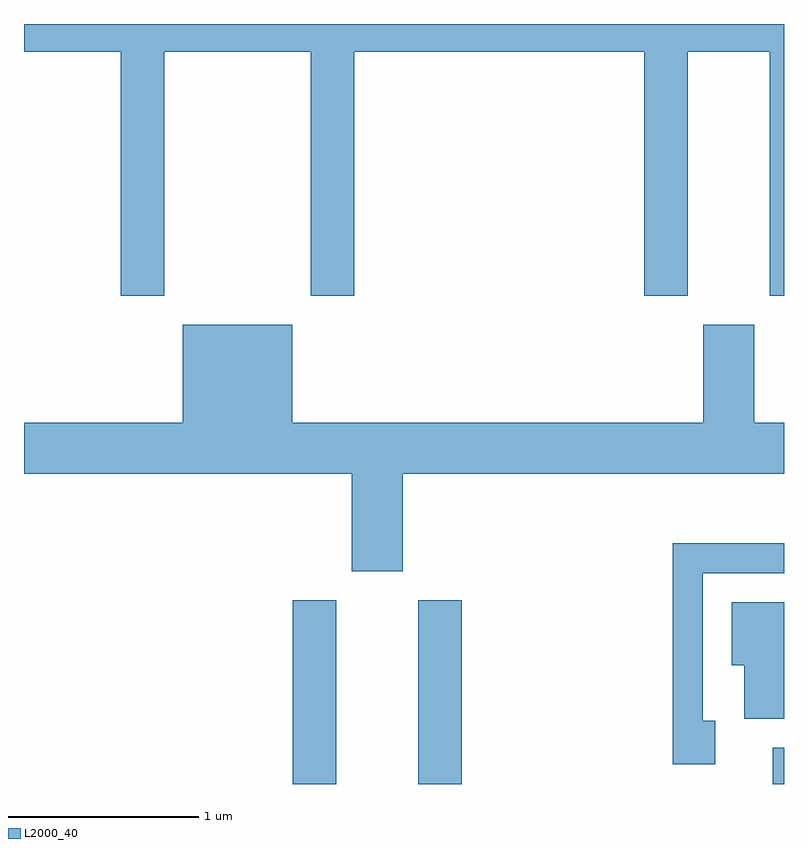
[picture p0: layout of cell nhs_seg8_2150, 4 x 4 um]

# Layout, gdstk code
import gdstk
lib = gdstk.Library(unit=1e-6, precision=1e-09)
def R(c, l, rs):  # rectangles x0, y0, x1, y1
    for r in rs: c.add(gdstk.rectangle(r[:2], r[2:], *l))
def P(c, l, *ps):  # polygons
    for p in ps: c.add(gdstk.Polygon(p, *l))
L2000_40 = (2000, 40)

nhs_seg8_2150 = lib.new_cell('nhs_seg8_2150')
R(nhs_seg8_2150, L2000_40, [(251.026,1830.342,251.254,1831.309), (251.686,1830.342,251.914,1831.309), (253.551,1830.342,253.611,1830.534)])
P(nhs_seg8_2150, L2000_40, [(250.349,1834.196),(251.121,1834.196),(251.121,1832.911),(251.349,1832.911),(251.349,1834.196),(252.876,1834.196),(252.876,1832.911),(253.104,1832.911),(253.104,1834.196),(253.536,1834.196),(253.536,1832.911),(253.611,1832.911),(253.611,1834.342),(249.611,1834.342),(249.611,1834.196),(250.121,1834.196),(250.121,1832.911),(250.349,1832.911)],
  [(251.604,1831.976),(253.611,1831.976),(253.611,1832.244),(253.454,1832.244),(253.454,1832.759),(253.186,1832.759),(253.186,1832.244),(251.024,1832.244),(251.024,1832.759),(250.446,1832.759),(250.446,1832.244),(249.611,1832.244),(249.611,1831.976),(251.336,1831.976),(251.336,1831.461),(251.604,1831.461)],
  [(253.249,1830.674),(253.184,1830.674),(253.184,1831.451),(253.611,1831.451),(253.611,1831.609),(253.026,1831.609),(253.026,1830.446),(253.249,1830.446)],
  [(253.611,1831.299),(253.336,1831.299),(253.336,1830.966),(253.401,1830.966),(253.401,1830.686),(253.611,1830.686)])

lib.write_gds('nhs_seg8_2150.gds')
